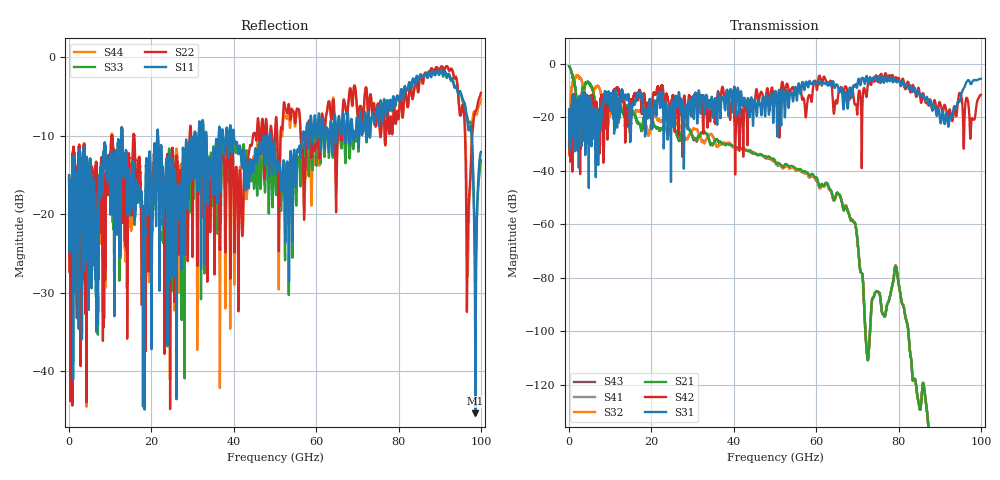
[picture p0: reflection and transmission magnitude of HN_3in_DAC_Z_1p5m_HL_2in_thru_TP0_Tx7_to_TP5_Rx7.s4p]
# GHz S RI R 45
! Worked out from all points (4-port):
!   4000 points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, 25 MHz to 100 GHz, reference 45 ohm
!   strongest paths, dB at 25 MHz, 25.02 GHz, 50.02 GHz, 75.03 GHz, 100 GHz:
!     S31: -17.1, -15.0, -10.4, -5.1, -5.5
!     S42: -17.1, -12.8, -11.9, -6.5, -11.5
!     S21: -0.8, -22.6, -36.3, -85.4, -
!     S32: -29.7, -23.3, -36.4, -85.4, -
!     S41: -29.7, -23.3, -36.5, -85.4, -
!     S43: -0.8, -23.0, -36.6, -85.4, -
!   lowest |S11| = -45.3 dB at 98.67 GHz (marker M1), VSWR 1.01, Z = 45.5 - j0.0597 ohm
!   |S11| at or under -10 dB: start of sweep to 12.69 GHz; 12.99 GHz to 21.41 GHz (8.42 GHz wide, 48.9 % of centre); 21.64 GHz to 30.58 GHz (8.94 GHz wide, 34.2 % of centre) (the widest 3 of 31)
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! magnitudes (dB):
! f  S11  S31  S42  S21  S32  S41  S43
! 25 MHz  -15.0  -17.1  -17.1  -0.8  -29.7  -29.7  -0.8
! 2.2 GHz  -19.3  -21.1  -14.1  -25.3  -4.5  -4.5  -25.0
! 57.45 GHz  -10.2  -6.9  -19.8  -40.3  -40.6  -40.6  -40.9
! 71.72 GHz  -7.3  -7.0  -9.1  -93.0  -93.0  -92.9  -92.8
! 90.67 GHz  -2.1  -17.7  -18.0  -144.0  -143.8  -144.2  -144.0
! 98.67 GHz  -45.3  -6.0  -18.7  -  -  -  -
! 100 GHz  -12.1  -5.5  -11.5  -  -  -  -
